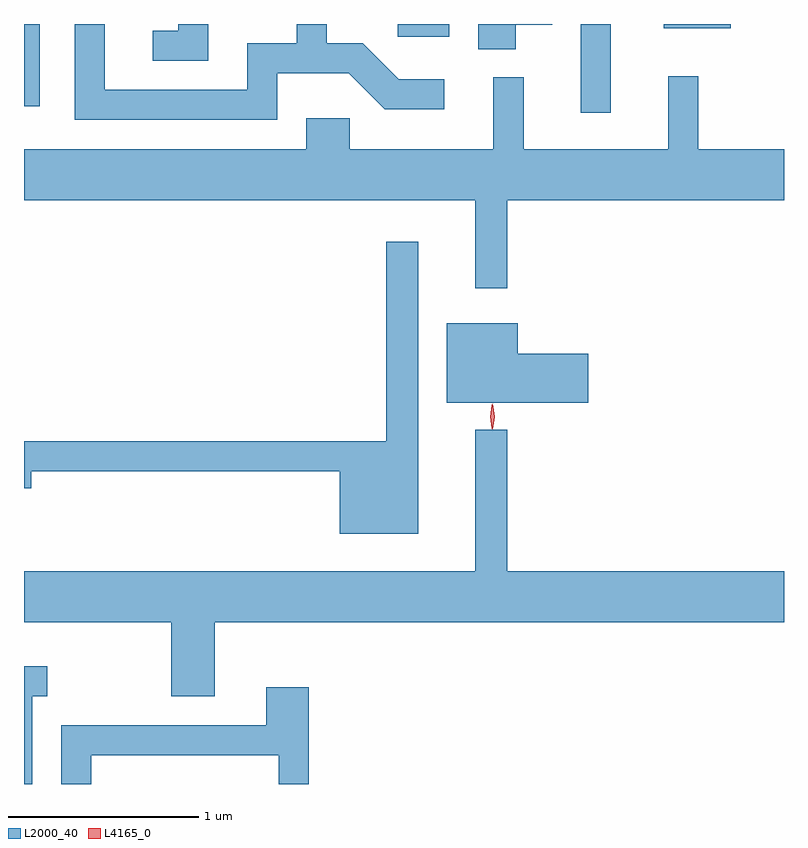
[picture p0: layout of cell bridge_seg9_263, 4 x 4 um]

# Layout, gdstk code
import gdstk
lib = gdstk.Library(unit=1e-6, precision=1e-09)
def R(c, l, rs):  # rectangles x0, y0, x1, y1
    for r in rs: c.add(gdstk.rectangle(r[:2], r[2:], *l))
def P(c, l, *ps):  # polygons
    for p in ps: c.add(gdstk.Polygon(p, *l))
L2000_40 = (2000, 40)
L4165_0 = (4165, 0)

bridge_seg9_263 = lib.new_cell('bridge_seg9_263')
R(bridge_seg9_263, L2000_40, [(973.216,2045.558,973.374,2046.024), (970.285,2045.591,970.369,2046.024), (972.251,2045.956,972.524,2046.024), (973.651,2046.001,974.004,2046.024)])
P(bridge_seg9_263, L2000_40, [(971.254,2046.024),(971.096,2046.024),(971.096,2045.989),(970.963,2045.989),(970.963,2045.831),(971.254,2045.831)],
  [(972.874,2046.021),(973.064,2046.021),(973.064,2046.024),(972.676,2046.024),(972.676,2045.891),(972.874,2045.891)],
  [(971.619,2045.766),(971.994,2045.766),(972.184,2045.576),(972.498,2045.576),(972.498,2045.734),(972.257,2045.734),(972.067,2045.924),(971.879,2045.924),(971.879,2046.024),(971.721,2046.024),(971.721,2045.924),(971.461,2045.924),(971.461,2045.679),(970.709,2045.679),(970.709,2046.024),(970.551,2046.024),(970.551,2045.521),(971.619,2045.521)],
  [(972.829,2045.096),(974.285,2045.096),(974.285,2045.364),(973.834,2045.364),(973.834,2045.748),(973.676,2045.748),(973.676,2045.364),(972.914,2045.364),(972.914,2045.743),(972.756,2045.743),(972.756,2045.364),(971.999,2045.364),(971.999,2045.529),(971.771,2045.529),(971.771,2045.364),(970.285,2045.364),(970.285,2045.096),(972.661,2045.096),(972.661,2044.633),(972.829,2044.633)],
  [(972.359,2044.878),(972.191,2044.878),(972.191,2043.829),(970.285,2043.829),(970.285,2043.581),(970.324,2043.581),(970.324,2043.671),(971.946,2043.671),(971.946,2043.341),(972.359,2043.341)],
  [(973.254,2044.289),(972.884,2044.289),(972.884,2044.449),(972.511,2044.449),(972.511,2044.031),(973.254,2044.031)],
  [(971.289,2042.876),(974.285,2042.876),(974.285,2043.144),(972.829,2043.144),(972.829,2043.888),(972.661,2043.888),(972.661,2043.144),(970.285,2043.144),(970.285,2042.876),(971.061,2042.876),(971.061,2042.486),(971.289,2042.486)],
  [(970.329,2042.486),(970.408,2042.486),(970.408,2042.644),(970.285,2042.644),(970.285,2042.024),(970.329,2042.024)],
  [(970.639,2042.176),(971.626,2042.176),(971.626,2042.024),(971.784,2042.024),(971.784,2042.534),(971.561,2042.534),(971.561,2042.334),(970.481,2042.334),(970.481,2042.024),(970.639,2042.024)])
P(bridge_seg9_263, L4165_0, [(972.751,2043.89),(972.751,2043.89),(972.742,2043.958),(972.752,2044.025),(972.753,2044.026),(972.753,2044.025),(972.762,2043.958),(972.752,2043.89)],
  [(972.748,2043.893),(972.748,2043.894),(972.738,2043.956),(972.748,2044.019),(972.748,2044.02),(972.749,2044.019),(972.758,2043.956),(972.749,2043.894)])

lib.write_gds('bridge_seg9_263.gds')
